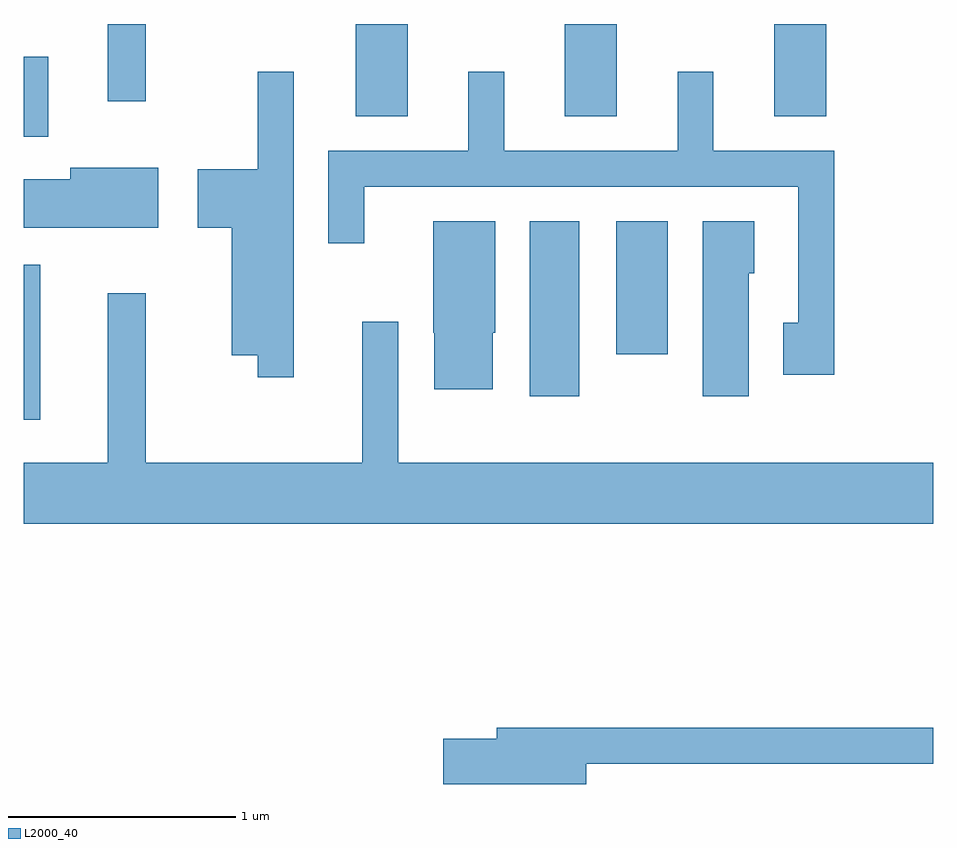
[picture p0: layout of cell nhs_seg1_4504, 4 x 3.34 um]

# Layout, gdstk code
import gdstk
lib = gdstk.Library(unit=1e-6, precision=1e-09)
def R(c, l, rs):  # rectangles x0, y0, x1, y1
    for r in rs: c.add(gdstk.rectangle(r[:2], r[2:], *l))
def A(c, l, x, y, w, h, nx, ny, dx, dy):  # array of equal rectangles
    R(c, l, [(x+i*dx, y+j*dy, x+i*dx+w, y+j*dy+h) for i in range(nx) for j in range(ny)])
def P(c, l, *ps):  # polygons
    for p in ps: c.add(gdstk.Polygon(p, *l))
L2000_40 = (2000, 40)

nhs_seg1_4504 = lib.new_cell('nhs_seg1_4504')
A(nhs_seg1_4504, L2000_40, 321.071, 961.306, 0.228, 0.406, 3, 1, 0.92, 0)
R(nhs_seg1_4504, L2000_40, [(319.611,959.973,319.684,960.654), (321.836,960.076,322.054,960.844), (322.216,960.261,322.444,960.844), (319.611,961.216,319.719,961.569), (319.981,961.373,320.149,961.712)])
P(nhs_seg1_4504, L2000_40, [(323.174,961.154),(322.644,961.154),(322.644,961.503),(322.486,961.503),(322.486,961.154),(321.724,961.154),(321.724,961.503),(321.566,961.503),(321.566,961.154),(320.951,961.154),(320.951,960.748),(321.109,960.748),(321.109,960.996),(323.016,960.996),(323.016,960.399),(322.951,960.399),(322.951,960.171),(323.174,960.171)],
  [(320.799,961.503),(320.641,961.503),(320.641,961.074),(320.376,961.074),(320.376,960.816),(320.526,960.816),(320.526,960.256),(320.641,960.256),(320.641,960.158),(320.799,960.158)],
  [(320.204,961.079),(319.816,961.079),(319.816,961.029),(319.611,961.029),(319.611,960.816),(320.204,960.816)],
  [(322.799,960.616),(322.824,960.616),(322.824,960.844),(322.596,960.844),(322.596,960.076),(322.799,960.076)],
  [(321.674,960.355),(321.684,960.355),(321.684,960.844),(321.411,960.844),(321.411,960.355),(321.416,960.355),(321.416,960.106),(321.674,960.106)],
  [(323.611,959.784),(321.259,959.784),(321.259,960.403),(321.101,960.403),(321.101,959.784),(320.149,959.784),(320.149,960.528),(319.981,960.528),(319.981,959.784),(319.611,959.784),(319.611,959.516),(323.611,959.516)],
  [(322.084,958.461),(323.611,958.461),(323.611,958.619),(321.691,958.619),(321.691,958.569),(321.456,958.569),(321.456,958.371),(322.084,958.371)])

lib.write_gds('nhs_seg1_4504.gds')
